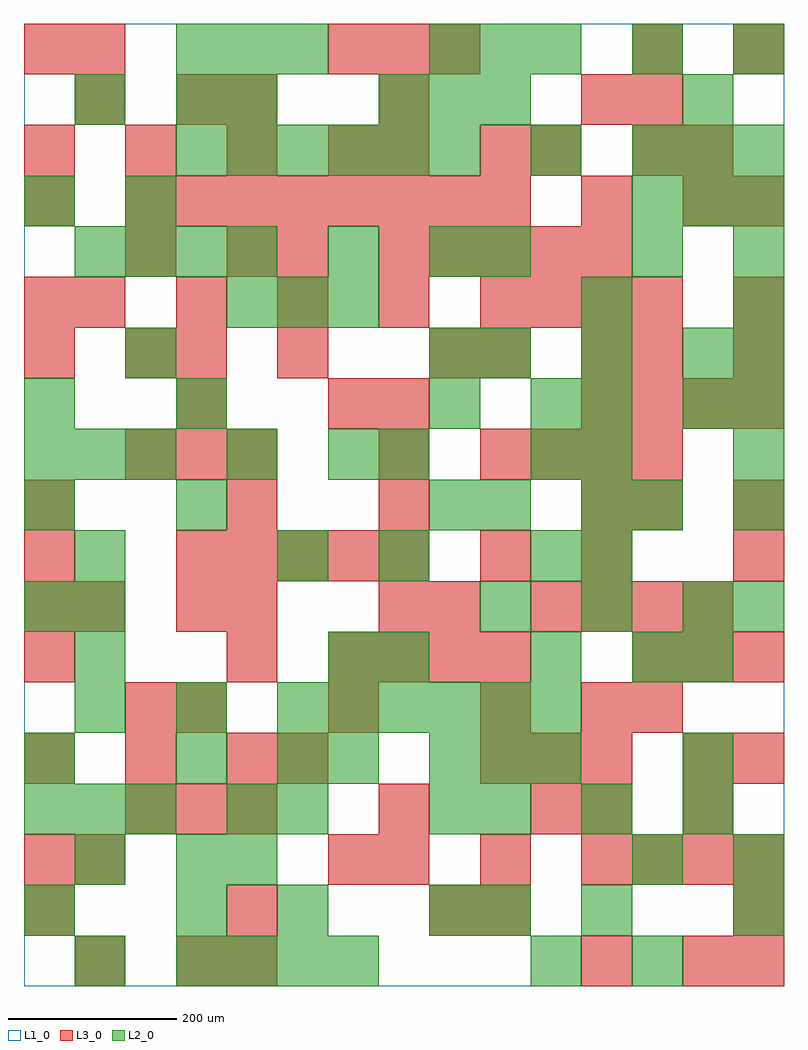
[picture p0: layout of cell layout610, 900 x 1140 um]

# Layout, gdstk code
import gdstk
lib = gdstk.Library(unit=1e-6, precision=1e-09)
def R(c, l, rs):  # rectangles x0, y0, x1, y1
    for r in rs: c.add(gdstk.rectangle(r[:2], r[2:], *l))
def A(c, l, x, y, w, h, nx, ny, dx, dy):  # array of equal rectangles
    R(c, l, [(x+i*dx, y+j*dy, x+i*dx+w, y+j*dy+h) for i in range(nx) for j in range(ny)])
L1_0 = (1, 0)
L2_0 = (2, 0)
L3_0 = (3, 0)

layout610 = lib.new_cell('layout610')
R(layout610, L1_0, [(0,0,900,1140)])
A(layout610, L2_0, 180, 0, 60, 60, 4, 1, 60, 0)
A(layout610, L2_0, 0, 60, 60, 60, 1, 3, 0, 180)
A(layout610, L2_0, 0, 180, 60, 60, 3, 2, 60, 420)
A(layout610, L2_0, 240, 180, 60, 60, 1, 3, 0, 420)
A(layout610, L2_0, 540, 180, 60, 60, 3, 2, 120, 240)
A(layout610, L2_0, 480, 240, 60, 60, 3, 2, 60, 840)
A(layout610, L2_0, 60, 300, 60, 60, 3, 1, 120, 0)
A(layout610, L2_0, 360, 300, 60, 60, 5, 1, 60, 0)
A(layout610, L2_0, 60, 360, 60, 60, 1, 3, 0, 60)
A(layout610, L2_0, 360, 360, 60, 60, 1, 3, 0, 240)
A(layout610, L2_0, 420, 360, 60, 60, 1, 3, 0, 120)
A(layout610, L2_0, 600, 360, 60, 60, 1, 3, 0, 120)
A(layout610, L2_0, 660, 480, 60, 60, 1, 4, 0, 60)
A(layout610, L2_0, 840, 540, 60, 60, 1, 6, 0, 60)
A(layout610, L2_0, 540, 720, 60, 60, 3, 1, 120, 0)
A(layout610, L2_0, 240, 780, 60, 60, 3, 1, 60, 0)
A(layout610, L2_0, 60, 840, 60, 60, 4, 1, 60, 0)
A(layout610, L2_0, 720, 900, 60, 60, 3, 2, 60, 60)
A(layout610, L2_0, 180, 960, 60, 60, 6, 1, 60, 0)
A(layout610, L2_0, 420, 1020, 60, 60, 3, 1, 60, 0)
A(layout610, L2_0, 180, 1080, 60, 60, 3, 1, 60, 0)
R(layout610, L2_0, [(60,0,120,60), (600,0,660,60), (720,0,780,60), (180,60,240,120), (300,60,360,120), (480,60,540,120), (540,60,600,120), (660,60,720,120), (840,60,900,120), (60,120,120,180), (180,120,240,180), (240,120,300,180), (720,120,780,180), (840,120,900,180), (300,180,360,240), (480,180,540,240), (180,240,240,300), (300,240,360,300), (360,240,420,300), (780,240,840,300), (720,360,780,420), (780,360,840,420), (840,420,900,480), (300,480,360,540), (0,540,60,600), (180,540,240,600), (480,540,540,600), (540,540,600,600), (720,540,780,600), (0,660,60,720), (180,660,240,720), (480,660,540,720), (600,660,660,720), (780,660,840,720), (120,720,180,780), (480,720,540,780), (660,780,720,840), (480,840,540,900), (540,840,600,900), (720,840,780,900), (0,900,60,960), (120,900,180,960), (600,960,660,1020), (60,1020,120,1080), (180,1020,240,1080), (780,1020,840,1080), (720,1080,780,1140), (840,1080,900,1140)])
A(layout610, L3_0, 0, 60, 60, 60, 3, 1, 240, 0)
A(layout610, L3_0, 420, 120, 60, 60, 3, 1, 120, 0)
A(layout610, L3_0, 720, 120, 60, 60, 3, 2, 60, 240)
A(layout610, L3_0, 120, 180, 60, 60, 3, 2, 60, 420)
A(layout610, L3_0, 0, 240, 60, 60, 3, 1, 120, 0)
A(layout610, L3_0, 540, 240, 60, 60, 3, 1, 60, 0)
A(layout610, L3_0, 180, 300, 60, 60, 3, 1, 180, 0)
A(layout610, L3_0, 0, 360, 60, 60, 1, 4, 0, 60)
A(layout610, L3_0, 360, 360, 60, 60, 4, 1, 60, 0)
A(layout610, L3_0, 600, 420, 60, 60, 4, 1, 60, 0)
A(layout610, L3_0, 180, 480, 60, 60, 5, 1, 60, 0)
A(layout610, L3_0, 540, 480, 60, 60, 1, 3, 0, 240)
A(layout610, L3_0, 420, 540, 60, 60, 1, 3, 0, 60)
A(layout610, L3_0, 660, 540, 60, 60, 1, 3, 0, 180)
A(layout610, L3_0, 540, 600, 60, 60, 4, 1, 60, 0)
A(layout610, L3_0, 660, 660, 60, 60, 4, 1, 60, 0)
A(layout610, L3_0, 60, 780, 60, 60, 5, 1, 120, 0)
A(layout610, L3_0, 600, 780, 60, 60, 3, 1, 60, 0)
A(layout610, L3_0, 420, 840, 60, 60, 5, 1, 60, 0)
A(layout610, L3_0, 120, 900, 60, 60, 8, 1, 60, 0)
A(layout610, L3_0, 0, 960, 60, 60, 4, 1, 120, 0)
A(layout610, L3_0, 720, 960, 60, 60, 1, 3, 0, 60)
A(layout610, L3_0, 360, 1080, 60, 60, 3, 1, 60, 0)
R(layout610, L3_0, [(60,0,120,60), (180,0,240,60), (240,0,300,60), (660,0,720,60), (780,0,840,60), (840,0,900,60), (540,60,600,120), (840,60,900,120), (0,120,60,180), (60,120,120,180), (360,120,420,180), (420,180,480,240), (600,180,660,240), (660,180,720,240), (780,180,840,240), (300,240,360,300), (780,240,840,300), (840,240,900,300), (120,300,180,360), (660,300,720,360), (720,300,780,360), (240,360,300,420), (60,420,120,480), (180,420,240,480), (240,420,300,480), (420,420,480,480), (480,420,540,480), (660,480,720,540), (840,480,900,540), (240,540,300,600), (720,540,780,600), (840,540,900,600), (180,660,240,720), (360,660,420,720), (0,720,60,780), (120,720,180,780), (180,720,240,780), (300,720,360,780), (480,720,540,780), (720,720,780,780), (840,720,900,780), (0,780,60,840), (840,780,900,840), (120,840,180,900), (240,840,300,900), (300,840,360,900), (0,900,60,960), (780,900,840,960), (840,900,900,960), (420,960,480,1020), (600,960,660,1020), (780,960,840,1020), (60,1020,120,1080), (180,1020,240,1080), (240,1020,300,1080), (420,1020,480,1080), (660,1020,720,1080), (0,1080,60,1140), (60,1080,120,1140), (840,1080,900,1140)])

lib.write_gds('layout610.gds')
